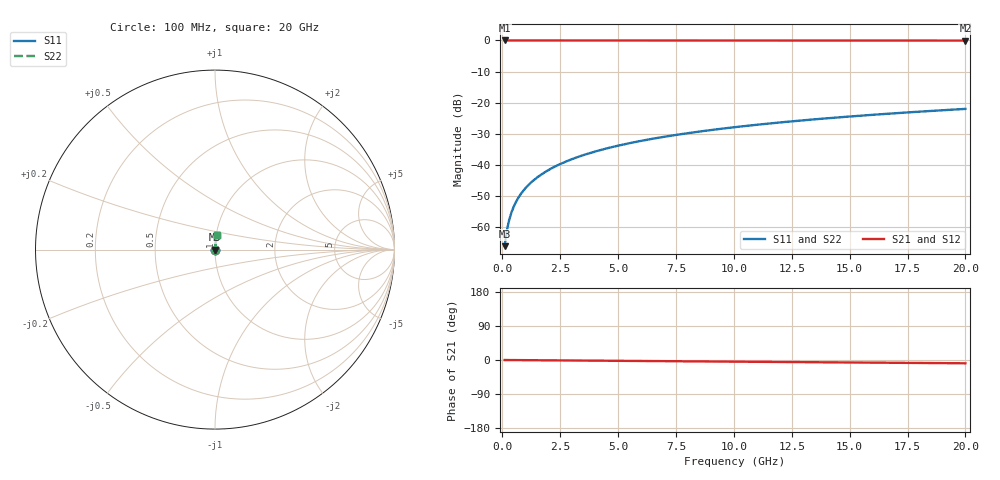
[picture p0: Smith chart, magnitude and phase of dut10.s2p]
! Touchstone file exported from HFSS 2026.1.0
!  File:  C:/ffzhzh/LocalFiles/Ansys_Project_Files/temp_train_TSV_10_1782957949_15332.aedt
!  Generated:  10:07:19 AM Jul  2, 2026
!  Design:  TSV
!  Project:  temp_train_TSV_10_1782957949_15332
! Variables:
!  h_bsmrdl = 2um
!  h_ox = 20um
!  h_rdl = 5um
!  h_sub = 66.55um
!  h_tmrdl = 5um
!  h_tsv = 66.55um
!  h_via = 3um
!  l_bsmrdl = 300um
!  l_sub = 412.06um
!  l_tmrdl = 200um
!  m_sub = 200um
!  pitch = 56.27um
!  r_tsv = 6.03um
!  s_tmrdl = 10um
!  w_bsmrdl = 18um
!  w_sub = 500um
!  w_tmrdl = 12um
!  x_tsv_center1 = 206um
!  x_tsv_center2 = 524um
!  x_tsv_center3 = 736um
!  x_tsv_center4 = 1054um
!  x_tsv_center5 = 1266um
!  x_tsv_center6 = 1584um
# GHz S MA R 50.000000
! Terminal data exported
! Port[1] = TSV1_1_T1
! Port[2] = TSV1_1_T2
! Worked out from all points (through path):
!   200 points, 100 MHz to 20 GHz, reference 50 ohm
!   highest |S21| = 0.00 dB at 100 MHz (marker M1); lowest = 0.0 dB at 20 GHz (marker M2)
!   group delay of S21, straight-line fit = 1.2 ps
!   lowest |S11| = -66.0 dB at 100 MHz (marker M3), VSWR 1.00, Z = 50 + j0.0438 ohm
!   |S11| at or under -10 dB: start of sweep to end of sweep
!   |S22| runs from -66.0 to -22.0 dB; largest |S21 - S12| = 1.2e-15
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0.1  0.000501 60.9  0.9998 -0.0  0.9998 -0.0  0.000501 60.9
! Gamma 0 0 0 0
! Port Impedance 50 0 50 0
0.2  0.0009099 73.9  0.9997 -0.1  0.9997 -0.1  0.0009099 73.9
0.3  0.001334 78.5  0.9997 -0.1  0.9997 -0.1  0.001334 78.5
0.4  0.00176 80.7  0.9997 -0.2  0.9997 -0.2  0.00176 80.7
0.5  0.002184 82.0  0.9997 -0.2  0.9997 -0.2  0.002184 82.0
0.6  0.002605 82.8  0.9997 -0.3  0.9997 -0.3  0.002605 82.8
0.7  0.003023 83.4  0.9997 -0.3  0.9997 -0.3  0.003023 83.4
0.8  0.003439 83.8  0.9996 -0.4  0.9996 -0.4  0.003439 83.8
1  0.004266 84.5  0.9996 -0.4  0.9996 -0.4  0.004266 84.5
1.4  0.005908 85.2  0.9995 -0.6  0.9995 -0.6  0.005908 85.2
1.7  0.007135 85.5  0.9995 -0.8  0.9995 -0.8  0.007135 85.5
2  0.008361 85.7  0.9995 -0.9  0.9995 -0.9  0.008361 85.7
2.7  0.01121 85.9  0.9994 -1.2  0.9994 -1.2  0.01121 85.9
3.5  0.01446 85.9  0.9993 -1.5  0.9993 -1.5  0.01446 85.9
4.2  0.01729 85.8  0.9991 -1.9  0.9991 -1.9  0.01729 85.8
5  0.02051 85.6  0.999 -2.2  0.999 -2.2  0.02051 85.6
6.8  0.02772 85.1  0.9987 -3.0  0.9987 -3.0  0.02772 85.1
8.3  0.03371 84.7  0.9984 -3.6  0.9984 -3.6  0.03371 84.7
10.1  0.04086 84.0  0.9981 -4.4  0.9981 -4.4  0.04086 84.0
13.4  0.05393 82.8  0.9973 -5.8  0.9973 -5.8  0.05393 82.8
16.7  0.06692 81.5  0.9964 -7.3  0.9964 -7.3  0.06692 81.5
20  0.0798 80.2  0.9953 -8.7  0.9953 -8.7  0.0798 80.2
